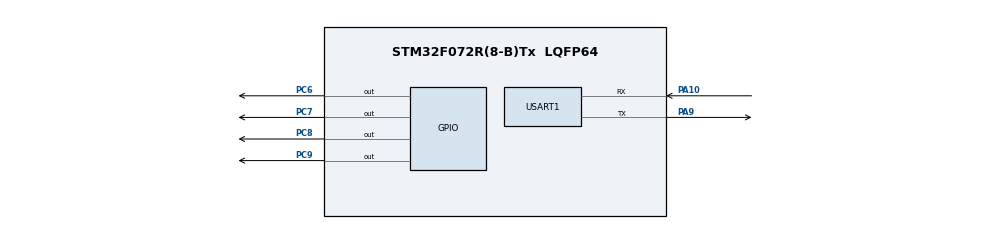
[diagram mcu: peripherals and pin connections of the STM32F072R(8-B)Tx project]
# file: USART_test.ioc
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Mcu.Family=STM32F0
Mcu.Name=STM32F072R(8-B)Tx
Mcu.Package=LQFP64
NVIC.USART1_IRQn=true\:0\:0\:false\:false\:true\:true
PA10.Mode=Asynchronous
PA10.Signal=USART1_RX
PA9.Mode=Asynchronous
PA9.Signal=USART1_TX
PC6.GPIO_PuPd=GPIO_PULLUP
PC6.GPIO_Speed=GPIO_SPEED_FREQ_HIGH
PC6.Signal=GPIO_Output
PC7.GPIO_PuPd=GPIO_PULLUP
PC7.GPIO_Speed=GPIO_SPEED_FREQ_HIGH
PC7.Signal=GPIO_Output
PC8.GPIO_PuPd=GPIO_PULLUP
PC8.GPIO_Speed=GPIO_SPEED_FREQ_HIGH
PC8.Signal=GPIO_Output
PC9.GPIO_PuPd=GPIO_PULLUP
PC9.GPIO_Speed=GPIO_SPEED_FREQ_HIGH
PC9.Signal=GPIO_Output
PF0-OSC_IN.Mode=HSE-External-Oscillator
PF0-OSC_IN.Signal=RCC_OSC_IN
PF1-OSC_OUT.Mode=HSE-External-Oscillator
PF1-OSC_OUT.Signal=RCC_OSC_OUT
ProjectManager.HeapSize=0x200
ProjectManager.StackSize=0x400
ProjectManager.TargetToolchain=MDK-ARM V5
USART1.VirtualMode-Asynchronous=VM_ASYNC
board=custom

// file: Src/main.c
/**
  ******************************************************************************
  * @file           : main.c
  * @brief          : Main program body
  ******************************************************************************
  ** This notice applies to any and all portions of this file
  * that are not between comment pairs USER CODE BEGIN and
  * USER CODE END. Other portions of this file, whether
  * inserted by the user or by software development tools
  * are owned by their respective copyright owners.
  *
  * COPYRIGHT(c) 2018 STMicroelectronics
  *
  * Redistribution and use in source and binary forms, with or without modification,
  * are permitted provided that the following conditions are met:
  *   1. Redistributions of source code must retain the above copyright notice,
  *      this list of conditions and the following disclaimer.
  *   2. Redistributions in binary form must reproduce the above copyright notice,
  *      this list of conditions and the following disclaimer in the documentation
  *      and/or other materials provided with the distribution.
  *   3. Neither the name of STMicroelectronics nor the names of its contributors
  *      may be used to endorse or promote products derived from this software
  *      without specific prior written permission.
  *
  * THIS SOFTWARE IS PROVIDED BY THE COPYRIGHT HOLDERS AND CONTRIBUTORS "AS IS"
  * AND ANY EXPRESS OR IMPLIED WARRANTIES, INCLUDING, BUT NOT LIMITED TO, THE
  * IMPLIED WARRANTIES OF MERCHANTABILITY AND FITNESS FOR A PARTICULAR PURPOSE ARE
  * DISCLAIMED. IN NO EVENT SHALL THE COPYRIGHT HOLDER OR CONTRIBUTORS BE LIABLE
  * FOR ANY DIRECT, INDIRECT, INCIDENTAL, SPECIAL, EXEMPLARY, OR CONSEQUENTIAL
  * DAMAGES (INCLUDING, BUT NOT LIMITED TO, PROCUREMENT OF SUBSTITUTE GOODS OR
  * SERVICES; LOSS OF USE, DATA, OR PROFITS; OR BUSINESS INTERRUPTION) HOWEVER
  * CAUSED AND ON ANY THEORY OF LIABILITY, WHETHER IN CONTRACT, STRICT LIABILITY,
  * OR TORT (INCLUDING NEGLIGENCE OR OTHERWISE) ARISING IN ANY WAY OUT OF THE USE
  * OF THIS SOFTWARE, EVEN IF ADVISED OF THE POSSIBILITY OF SUCH DAMAGE.
  *
  ******************************************************************************
  */
#include "main.h"
#include "stm32f0xx_hal.h"

/* USER CODE BEGIN Includes */
#include "String.h"
/* USER CODE END Includes */

UART_HandleTypeDef huart1;

/* USER CODE BEGIN PV */
/* Private variables ---------------------------------------------------------*/
volatile int flag = 0;
/* USER CODE END PV */

void SystemClock_Config(void);
static void MX_GPIO_Init(void);
static void MX_USART1_UART_Init(void);

/* USER CODE BEGIN PFP */
/* Private function prototypes -----------------------------------------------*/

/* USER CODE END PFP */

int main(void)
{
  /* USER CODE BEGIN 1 */
	uint8_t str[2];

  /* USER CODE END 1 */

  /* MCU Configuration----------------------------------------------------------*/

  /* Reset of all peripherals, Initializes the Flash interface and the Systick. */
  HAL_Init();

  /* USER CODE BEGIN Init */
	//LED3_GPIO_CLK_ENABLE();
  /* USER CODE END Init */

  /* Configure the system clock */
  SystemClock_Config();

  /* Initialize all configured peripherals */
  MX_GPIO_Init();
  MX_USART1_UART_Init();

  /* Infinite loop */
  /* USER CODE BEGIN WHILE */
	HAL_UART_Receive_IT(&huart1,str,2);
  while (1)
  {
		if(flag == 1){
			if(str[0]=='r'&&str[1]=='u'){
				uint8_t tmp[] = "RedLed is on\r\n";
				GPIOC->ODR |= GPIO_PIN_6;
				HAL_UART_Transmit(&huart1,tmp,sizeof(tmp),0xFFFF);
			}
			else if(str[0]=='r'&&str[1]=='d'){
				uint8_t tmp[] = "RedLed is off\r\n";
				GPIOC->ODR &= ~GPIO_PIN_6;
				HAL_UART_Transmit(&huart1,tmp,sizeof(tmp),0xFFFF);
			}
			else if(str[0]=='b'&&str[1]=='u'){
				uint8_t tmp[] = "BlueLed is on\r\n";
				GPIOC->ODR |= GPIO_PIN_7;
				HAL_UART_Transmit(&huart1,tmp,sizeof(tmp),0xFFFF);
			}
			else if(str[0]=='b'&&str[1]=='d'){
				uint8_t tmp[] = "BlueLed is off\r\n";
				GPIOC->ODR &= ~GPIO_PIN_7;
				HAL_UART_Transmit(&huart1,tmp,sizeof(tmp),0xFFFF);
			}
			else if(str[0]=='o'&&str[1]=='u'){
				uint8_t tmp[] = "OrangeLed is on\r\n";
				GPIOC->ODR |= GPIO_PIN_8;
				HAL_UART_Transmit(&huart1,tmp,sizeof(tmp),0xFFFF);
			}
			else if(str[0]=='o'&&str[1]=='d'){
				uint8_t tmp[] = "OrangeLed is off\r\n";
				GPIOC->ODR &= ~GPIO_PIN_8;
				HAL_UART_Transmit(&huart1,tmp,sizeof(tmp),0xFFFF);
			}
			else if(str[0]=='g'&&str[1]=='u'){
				uint8_t tmp[] = "GreenLed is on\r\n";
				GPIOC->ODR |= GPIO_PIN_9;
				HAL_UART_Transmit(&huart1,tmp,sizeof(tmp),0xFFFF);
			}
			else if(str[0]=='g'&&str[1]=='d'){
				uint8_t tmp[] = "GreenLed is off\r\n";
				GPIOC->ODR &= ~GPIO_PIN_9;
				HAL_UART_Transmit(&huart1,tmp,sizeof(tmp),0xFFFF);
			}
			else if(str[0]=='a'&&str[1]=='u'){
				uint8_t tmp[] = "AllLeds are on\r\n";
				GPIOC->ODR |= GPIO_PIN_9|GPIO_PIN_8|GPIO_PIN_7|GPIO_PIN_6;
				HAL_UART_Transmit(&huart1,tmp,sizeof(tmp),0xFFFF);
			}
			else if(str[0]=='a'&&str[1]=='d'){
				uint8_t tmp[] = "AllLeds are off\r\n";
				GPIOC->ODR &= ~(GPIO_PIN_9|GPIO_PIN_8|GPIO_PIN_7|GPIO_PIN_6);
				HAL_UART_Transmit(&huart1,tmp,sizeof(tmp),0xFFFF);
			}
			else{
				uint8_t tmp[] = "ERROR\r\n";
				HAL_UART_Transmit(&huart1,tmp,sizeof(tmp),0xFFFF);
			}
			flag = 0;
		}
		HAL_UART_Receive_IT(&huart1,str,2);
		HAL_Delay(100);
  /* USER CODE END WHILE */

	}

}

void SystemClock_Config(void)
{

  RCC_OscInitTypeDef RCC_OscInitStruct;
  RCC_ClkInitTypeDef RCC_ClkInitStruct;
  RCC_PeriphCLKInitTypeDef PeriphClkInit;

    /**Initializes the CPU, AHB and APB busses clocks
    */
  RCC_OscInitStruct.OscillatorType = RCC_OSCILLATORTYPE_HSI;
  RCC_OscInitStruct.HSIState = RCC_HSI_ON;
  RCC_OscInitStruct.HSICalibrationValue = 16;
  RCC_OscInitStruct.PLL.PLLState = RCC_PLL_NONE;
  if (HAL_RCC_OscConfig(&RCC_OscInitStruct) != HAL_OK)
  {
    _Error_Handler(__FILE__, __LINE__);
  }

    /**Initializes the CPU, AHB and APB busses clocks
    */
  RCC_ClkInitStruct.ClockType = RCC_CLOCKTYPE_HCLK|RCC_CLOCKTYPE_SYSCLK
                              |RCC_CLOCKTYPE_PCLK1;
  RCC_ClkInitStruct.SYSCLKSource = RCC_SYSCLKSOURCE_HSI;
  RCC_ClkInitStruct.AHBCLKDivider = RCC_SYSCLK_DIV1;
  RCC_ClkInitStruct.APB1CLKDivider = RCC_HCLK_DIV1;

  if (HAL_RCC_ClockConfig(&RCC_ClkInitStruct, FLASH_LATENCY_0) != HAL_OK)
  {
    _Error_Handler(__FILE__, __LINE__);
  }

  PeriphClkInit.PeriphClockSelection = RCC_PERIPHCLK_USART1;
  PeriphClkInit.Usart1ClockSelection = RCC_USART1CLKSOURCE_PCLK1;
  if (HAL_RCCEx_PeriphCLKConfig(&PeriphClkInit) != HAL_OK)
  {
    _Error_Handler(__FILE__, __LINE__);
  }

    /**Configure the Systick interrupt time
    */
  HAL_SYSTICK_Config(HAL_RCC_GetHCLKFreq()/1000);

    /**Configure the Systick
    */
  HAL_SYSTICK_CLKSourceConfig(SYSTICK_CLKSOURCE_HCLK);

  /* SysTick_IRQn interrupt configuration */
  HAL_NVIC_SetPriority(SysTick_IRQn, 0, 0);
}

/* USART1 init function */
static void MX_USART1_UART_Init(void)
{

  huart1.Instance = USART1;
  huart1.Init.BaudRate = 38400;
  huart1.Init.WordLength = UART_WORDLENGTH_8B;
  huart1.Init.StopBits = UART_STOPBITS_1;
  huart1.Init.Parity = UART_PARITY_NONE;
  huart1.Init.Mode = UART_MODE_TX_RX;
  huart1.Init.HwFlowCtl = UART_HWCONTROL_NONE;
  huart1.Init.OverSampling = UART_OVERSAMPLING_16;
  huart1.Init.OneBitSampling = UART_ONE_BIT_SAMPLE_DISABLE;
  huart1.AdvancedInit.AdvFeatureInit = UART_ADVFEATURE_NO_INIT;
  if (HAL_UART_Init(&huart1) != HAL_OK)
  {
    _Error_Handler(__FILE__, __LINE__);
  }

}

/** Configure pins as
        * Analog
        * Input
        * Output
        * EVENT_OUT
        * EXTI
*/
static void MX_GPIO_Init(void)
{

  GPIO_InitTypeDef GPIO_InitStruct;

  /* GPIO Ports Clock Enable */
  __HAL_RCC_GPIOF_CLK_ENABLE();
  __HAL_RCC_GPIOC_CLK_ENABLE();
  __HAL_RCC_GPIOA_CLK_ENABLE();

  /*Configure GPIO pin Output Level */
  HAL_GPIO_WritePin(GPIOC, GPIO_PIN_6|GPIO_PIN_7|GPIO_PIN_8|GPIO_PIN_9, GPIO_PIN_RESET);

  /*Configure GPIO pins : PC6 PC7 PC8 PC9 */
  GPIO_InitStruct.Pin = GPIO_PIN_6|GPIO_PIN_7|GPIO_PIN_8|GPIO_PIN_9;
  GPIO_InitStruct.Mode = GPIO_MODE_OUTPUT_PP;
  GPIO_InitStruct.Pull = GPIO_PULLUP;
  GPIO_InitStruct.Speed = GPIO_SPEED_FREQ_HIGH;
  HAL_GPIO_Init(GPIOC, &GPIO_InitStruct);

}

/* USER CODE BEGIN 4 */

void HAL_UART_RxCpltCallback(UART_HandleTypeDef *huart)
{
	flag =1;
}
/* USER CODE END 4 */

void _Error_Handler(char *file, int line)
{
  while(1)
  {
  }
}

/************************ (C) COPYRIGHT STMicroelectronics *****END OF FILE****/
